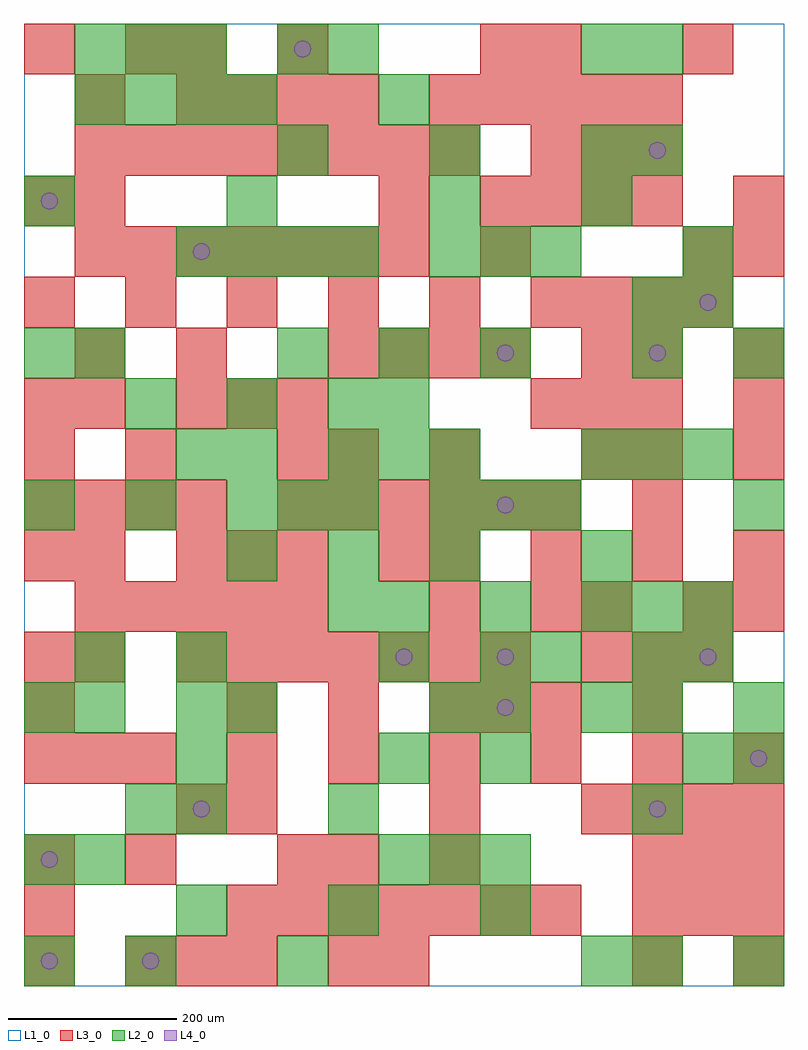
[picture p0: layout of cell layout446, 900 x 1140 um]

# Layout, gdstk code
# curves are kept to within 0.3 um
import gdstk
lib = gdstk.Library(unit=1e-6, precision=1e-09)
def R(c, l, rs):  # rectangles x0, y0, x1, y1
    for r in rs: c.add(gdstk.rectangle(r[:2], r[2:], *l))
def A(c, l, x, y, w, h, nx, ny, dx, dy):  # array of equal rectangles
    R(c, l, [(x+i*dx, y+j*dy, x+i*dx+w, y+j*dy+h) for i in range(nx) for j in range(ny)])
def P(c, l, *ps):  # polygons
    for p in ps: c.add(gdstk.Polygon(p, *l))
L1_0 = (1, 0)
L2_0 = (2, 0)
L3_0 = (3, 0)
L4_0 = (4, 0)

layout446 = lib.new_cell('layout446')
R(layout446, L1_0, [(0,0,900,1140)])
A(layout446, L2_0, 300, 0, 60, 60, 1, 3, 0, 540)
A(layout446, L2_0, 180, 60, 60, 60, 3, 1, 180, 0)
A(layout446, L2_0, 420, 120, 60, 60, 3, 1, 60, 0)
A(layout446, L2_0, 180, 180, 60, 60, 1, 4, 0, 60)
A(layout446, L2_0, 540, 240, 60, 60, 1, 3, 0, 60)
A(layout446, L2_0, 720, 300, 60, 60, 1, 3, 0, 60)
A(layout446, L2_0, 420, 420, 60, 60, 3, 1, 120, 0)
A(layout446, L2_0, 240, 480, 60, 60, 3, 1, 120, 0)
A(layout446, L2_0, 0, 540, 60, 60, 3, 1, 120, 0)
A(layout446, L2_0, 480, 540, 60, 60, 3, 2, 60, 300)
A(layout446, L2_0, 360, 600, 60, 60, 3, 1, 60, 0)
A(layout446, L2_0, 660, 600, 60, 60, 3, 1, 60, 0)
A(layout446, L2_0, 120, 660, 60, 60, 3, 1, 120, 0)
A(layout446, L2_0, 300, 720, 60, 60, 3, 1, 120, 0)
A(layout446, L2_0, 180, 840, 60, 60, 4, 1, 60, 0)
A(layout446, L2_0, 0, 900, 60, 60, 3, 1, 240, 0)
A(layout446, L2_0, 300, 960, 60, 60, 3, 1, 180, 0)
A(layout446, L2_0, 60, 1020, 60, 60, 4, 1, 60, 0)
A(layout446, L2_0, 60, 1080, 60, 60, 3, 1, 60, 0)
R(layout446, L2_0, [(0,0,60,60), (120,0,180,60), (660,0,720,60), (720,0,780,60), (840,0,900,60), (0,120,60,180), (60,120,120,180), (120,180,180,240), (360,180,420,240), (720,180,780,240), (420,240,480,300), (780,240,840,300), (840,240,900,300), (0,300,60,360), (60,300,120,360), (240,300,300,360), (480,300,540,360), (660,300,720,360), (840,300,900,360), (60,360,120,420), (420,360,480,420), (600,360,660,420), (780,360,840,420), (360,420,420,480), (780,420,840,480), (660,480,720,540), (360,540,420,600), (840,540,900,600), (180,600,240,660), (240,600,300,660), (420,660,480,720), (0,720,60,780), (60,720,120,780), (720,720,780,780), (840,720,900,780), (720,780,780,840), (780,780,840,840), (780,840,840,900), (660,900,720,960), (720,960,780,1020), (420,1020,480,1080), (360,1080,420,1140), (660,1080,720,1140), (720,1080,780,1140)])
A(layout446, L3_0, 0, 0, 60, 60, 1, 3, 0, 60)
A(layout446, L3_0, 120, 0, 60, 60, 3, 1, 60, 0)
A(layout446, L3_0, 240, 60, 60, 60, 7, 1, 60, 0)
A(layout446, L3_0, 720, 60, 60, 60, 3, 2, 60, 60)
A(layout446, L3_0, 120, 120, 60, 60, 1, 3, 0, 480)
A(layout446, L3_0, 300, 120, 60, 60, 1, 3, 0, 480)
A(layout446, L3_0, 660, 180, 60, 60, 4, 1, 60, 0)
A(layout446, L3_0, 0, 240, 60, 60, 3, 1, 60, 0)
A(layout446, L3_0, 240, 240, 60, 60, 6, 1, 120, 0)
A(layout446, L3_0, 240, 300, 60, 60, 3, 1, 120, 0)
A(layout446, L3_0, 0, 360, 60, 60, 1, 3, 0, 120)
A(layout446, L3_0, 180, 360, 60, 60, 7, 1, 60, 0)
A(layout446, L3_0, 660, 360, 60, 60, 3, 2, 60, 420)
A(layout446, L3_0, 60, 420, 60, 60, 5, 1, 60, 0)
A(layout446, L3_0, 180, 480, 60, 60, 3, 2, 60, 180)
A(layout446, L3_0, 480, 480, 60, 60, 4, 1, 120, 0)
A(layout446, L3_0, 0, 540, 60, 60, 4, 1, 60, 0)
A(layout446, L3_0, 300, 540, 60, 60, 6, 1, 60, 0)
A(layout446, L3_0, 840, 600, 60, 60, 1, 3, 0, 60)
A(layout446, L3_0, 600, 660, 60, 60, 3, 2, 60, 300)
A(layout446, L3_0, 360, 720, 60, 60, 4, 1, 60, 0)
A(layout446, L3_0, 0, 780, 60, 60, 6, 1, 120, 0)
A(layout446, L3_0, 60, 840, 60, 60, 7, 1, 60, 0)
A(layout446, L3_0, 540, 900, 60, 60, 4, 1, 60, 0)
A(layout446, L3_0, 60, 960, 60, 60, 8, 1, 60, 0)
A(layout446, L3_0, 180, 1020, 60, 60, 4, 1, 60, 0)
A(layout446, L3_0, 480, 1020, 60, 60, 5, 1, 60, 0)
R(layout446, L3_0, [(360,0,420,60), (420,0,480,60), (720,0,780,60), (840,0,900,60), (360,120,420,180), (480,120,540,180), (180,180,240,240), (240,180,300,240), (480,180,540,240), (0,300,60,360), (540,300,600,360), (600,300,660,360), (720,300,780,360), (60,360,120,420), (480,420,540,480), (600,420,660,480), (660,420,720,480), (780,420,840,480), (840,420,900,480), (60,480,120,540), (420,480,480,540), (720,540,780,600), (360,600,420,660), (480,600,540,660), (660,600,720,660), (720,600,780,660), (0,660,60,720), (60,660,120,720), (60,720,120,780), (180,720,240,780), (660,720,720,780), (720,720,780,780), (540,840,600,900), (780,840,840,900), (840,840,900,900), (0,900,60,960), (60,900,120,960), (420,900,480,960), (840,900,900,960), (60,1020,120,1080), (0,1080,60,1140), (180,1080,240,1140), (540,1080,600,1140), (600,1080,660,1140), (780,1080,840,1140)])
P(layout446, L4_0, [(40,30),(39.239,33.827),(37.071,37.071),(33.827,39.239),(30,40),(26.173,39.239),(22.929,37.071),(20.761,33.827),(20,30),(20.761,26.173),(22.929,22.929),(26.173,20.761),(30,20),(33.827,20.761),(37.071,22.929),(39.239,26.173)],
  [(40,150),(39.239,153.827),(37.071,157.071),(33.827,159.239),(30,160),(26.173,159.239),(22.929,157.071),(20.761,153.827),(20,150),(20.761,146.173),(22.929,142.929),(26.173,140.761),(30,140),(33.827,140.761),(37.071,142.929),(39.239,146.173)],
  [(40,930),(39.239,933.827),(37.071,937.071),(33.827,939.239),(30,940),(26.173,939.239),(22.929,937.071),(20.761,933.827),(20,930),(20.761,926.173),(22.929,922.929),(26.173,920.761),(30,920),(33.827,920.761),(37.071,922.929),(39.239,926.173)],
  [(160,30),(159.239,33.827),(157.071,37.071),(153.827,39.239),(150,40),(146.173,39.239),(142.929,37.071),(140.761,33.827),(140,30),(140.761,26.173),(142.929,22.929),(146.173,20.761),(150,20),(153.827,20.761),(157.071,22.929),(159.239,26.173)],
  [(220,210),(219.239,213.827),(217.071,217.071),(213.827,219.239),(210,220),(206.173,219.239),(202.929,217.071),(200.761,213.827),(200,210),(200.761,206.173),(202.929,202.929),(206.173,200.761),(210,200),(213.827,200.761),(217.071,202.929),(219.239,206.173)],
  [(220,870),(219.239,873.827),(217.071,877.071),(213.827,879.239),(210,880),(206.173,879.239),(202.929,877.071),(200.761,873.827),(200,870),(200.761,866.173),(202.929,862.929),(206.173,860.761),(210,860),(213.827,860.761),(217.071,862.929),(219.239,866.173)],
  [(340,1110),(339.239,1113.827),(337.071,1117.071),(333.827,1119.239),(330,1120),(326.173,1119.239),(322.929,1117.071),(320.761,1113.827),(320,1110),(320.761,1106.173),(322.929,1102.929),(326.173,1100.761),(330,1100),(333.827,1100.761),(337.071,1102.929),(339.239,1106.173)],
  [(460,390),(459.239,393.827),(457.071,397.071),(453.827,399.239),(450,400),(446.173,399.239),(442.929,397.071),(440.761,393.827),(440,390),(440.761,386.173),(442.929,382.929),(446.173,380.761),(450,380),(453.827,380.761),(457.071,382.929),(459.239,386.173)],
  [(580,330),(579.239,333.827),(577.071,337.071),(573.827,339.239),(570,340),(566.173,339.239),(562.929,337.071),(560.761,333.827),(560,330),(560.761,326.173),(562.929,322.929),(566.173,320.761),(570,320),(573.827,320.761),(577.071,322.929),(579.239,326.173)],
  [(580,390),(579.239,393.827),(577.071,397.071),(573.827,399.239),(570,400),(566.173,399.239),(562.929,397.071),(560.761,393.827),(560,390),(560.761,386.173),(562.929,382.929),(566.173,380.761),(570,380),(573.827,380.761),(577.071,382.929),(579.239,386.173)],
  [(580,570),(579.239,573.827),(577.071,577.071),(573.827,579.239),(570,580),(566.173,579.239),(562.929,577.071),(560.761,573.827),(560,570),(560.761,566.173),(562.929,562.929),(566.173,560.761),(570,560),(573.827,560.761),(577.071,562.929),(579.239,566.173)],
  [(580,750),(579.239,753.827),(577.071,757.071),(573.827,759.239),(570,760),(566.173,759.239),(562.929,757.071),(560.761,753.827),(560,750),(560.761,746.173),(562.929,742.929),(566.173,740.761),(570,740),(573.827,740.761),(577.071,742.929),(579.239,746.173)],
  [(760,210),(759.239,213.827),(757.071,217.071),(753.827,219.239),(750,220),(746.173,219.239),(742.929,217.071),(740.761,213.827),(740,210),(740.761,206.173),(742.929,202.929),(746.173,200.761),(750,200),(753.827,200.761),(757.071,202.929),(759.239,206.173)],
  [(760,750),(759.239,753.827),(757.071,757.071),(753.827,759.239),(750,760),(746.173,759.239),(742.929,757.071),(740.761,753.827),(740,750),(740.761,746.173),(742.929,742.929),(746.173,740.761),(750,740),(753.827,740.761),(757.071,742.929),(759.239,746.173)],
  [(760,990),(759.239,993.827),(757.071,997.071),(753.827,999.239),(750,1000),(746.173,999.239),(742.929,997.071),(740.761,993.827),(740,990),(740.761,986.173),(742.929,982.929),(746.173,980.761),(750,980),(753.827,980.761),(757.071,982.929),(759.239,986.173)],
  [(820,390),(819.239,393.827),(817.071,397.071),(813.827,399.239),(810,400),(806.173,399.239),(802.929,397.071),(800.761,393.827),(800,390),(800.761,386.173),(802.929,382.929),(806.173,380.761),(810,380),(813.827,380.761),(817.071,382.929),(819.239,386.173)],
  [(820,810),(819.239,813.827),(817.071,817.071),(813.827,819.239),(810,820),(806.173,819.239),(802.929,817.071),(800.761,813.827),(800,810),(800.761,806.173),(802.929,802.929),(806.173,800.761),(810,800),(813.827,800.761),(817.071,802.929),(819.239,806.173)],
  [(880,270),(879.239,273.827),(877.071,277.071),(873.827,279.239),(870,280),(866.173,279.239),(862.929,277.071),(860.761,273.827),(860,270),(860.761,266.173),(862.929,262.929),(866.173,260.761),(870,260),(873.827,260.761),(877.071,262.929),(879.239,266.173)])

lib.write_gds('layout446.gds')
